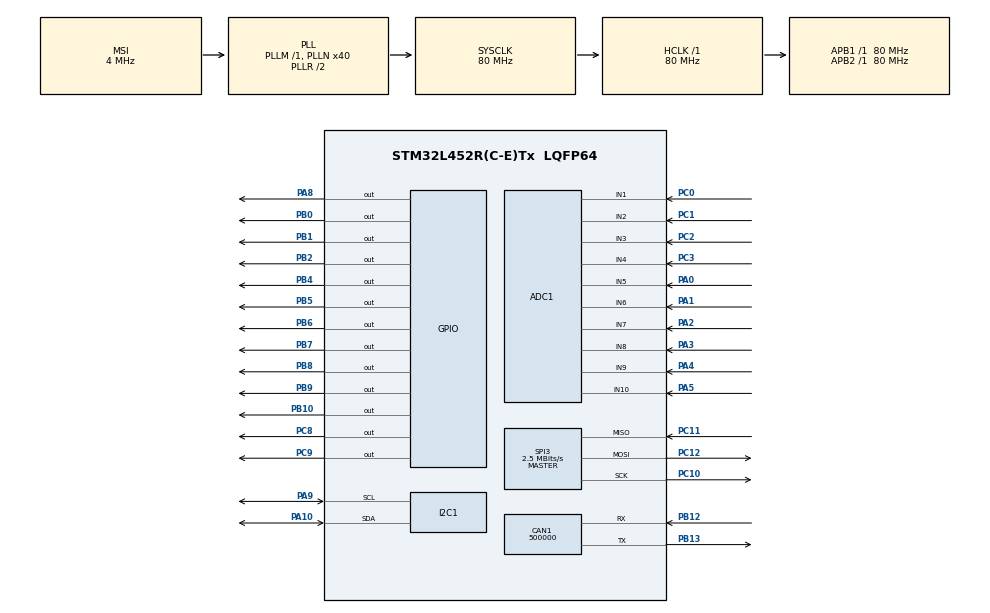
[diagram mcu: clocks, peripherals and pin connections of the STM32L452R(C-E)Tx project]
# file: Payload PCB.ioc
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ADC1.Channel-0\#ChannelRegularConversion=ADC_CHANNEL_1
ADC1.NbrOfConversion=1
ADC1.NbrOfConversionFlag=1
ADC1.OffsetNumber-0\#ChannelRegularConversion=ADC_OFFSET_NONE
ADC1.Rank-0\#ChannelRegularConversion=1
ADC1.SamplingTime-0\#ChannelRegularConversion=ADC_SAMPLETIME_2CYCLES_5
ADC1.master=1
CAN1.BS1=CAN_BS1_5TQ
CAN1.BS2=CAN_BS2_4TQ
CAN1.CalculateBaudRate=500000
CAN1.CalculateTimeBit=2000
CAN1.CalculateTimeQuantum=200.0
I2C1.Timing=0x10909CEC
Mcu.Family=STM32L4
Mcu.Name=STM32L452R(C-E)Tx
Mcu.Package=LQFP64
NVIC.CAN1_RX0_IRQn=true\:1\:0\:true\:false\:true\:true\:true\:true
NVIC.PriorityGroup=NVIC_PRIORITYGROUP_4
NVIC.TIM2_IRQn=true\:1\:0\:true\:false\:true\:true\:true\:true
PA0.Signal=ADCx_IN5
PA1.Signal=ADCx_IN6
PA10.Mode=I2C
PA10.Signal=I2C1_SDA
PA13\ (JTMS/SWDIO).Signal=SYS_JTMS-SWDIO
PA14\ (JTCK/SWCLK).Signal=SYS_JTCK-SWCLK
PA2.Signal=ADCx_IN7
PA3.Signal=ADCx_IN8
PA4.Signal=ADCx_IN9
PA5.Signal=ADCx_IN10
PA8.PinState=GPIO_PIN_SET
PA8.Signal=GPIO_Output
PA9.Mode=I2C
PA9.Signal=I2C1_SCL
PB0.Signal=GPIO_Output
PB1.Signal=GPIO_Output
PB10.Signal=GPIO_Output
PB12.Mode=CAN_Activate
PB12.Signal=CAN1_RX
PB13.Mode=CAN_Activate
PB13.Signal=CAN1_TX
PB2.Signal=GPIO_Output
PB3\ (JTDO/TRACESWO).Signal=SYS_JTDO-SWO
PB4\ (NJTRST).Signal=GPIO_Output
PB5.Signal=GPIO_Output
PB6.Signal=GPIO_Output
PB7.Signal=GPIO_Output
PB8.Signal=GPIO_Output
PB9.Signal=GPIO_Output
PC0.Signal=ADCx_IN1
PC1.Signal=ADCx_IN2
PC10.Mode=Full_Duplex_Master
PC10.Signal=SPI3_SCK
PC11.Mode=Full_Duplex_Master
PC11.Signal=SPI3_MISO
PC12.Mode=Full_Duplex_Master
PC12.Signal=SPI3_MOSI
PC2.Signal=ADCx_IN3
PC3.Signal=ADCx_IN4
PC8.PinState=GPIO_PIN_SET
PC8.Signal=GPIO_Output
PC9.Signal=GPIO_Output
ProjectManager.HeapSize=0x200
ProjectManager.StackSize=0x400
ProjectManager.TargetToolchain=STM32CubeIDE
RCC.ADCFreq_Value=32000000
RCC.AHBFreq_Value=80000000
RCC.APB1Freq_Value=80000000
RCC.APB1TimFreq_Value=80000000
RCC.APB2Freq_Value=80000000
RCC.APB2TimFreq_Value=80000000
RCC.CortexFreq_Value=80000000
RCC.HCLKFreq_Value=80000000
RCC.HSE_VALUE=8000000
RCC.HSI48_VALUE=48000000
RCC.HSI_VALUE=16000000
RCC.LSE_VALUE=32768
RCC.MSI_VALUE=4000000
RCC.PLLN=40
RCC.PLLSAI1N=16
RCC.SYSCLKFreq_VALUE=80000000
RCC.SYSCLKSource=RCC_SYSCLKSOURCE_PLLCLK
RCC.USBFreq_Value=32000000
RCC.VCOOutputFreq_Value=160000000
SH.ADCx_IN1.0=ADC1_IN1,IN1-Single-Ended
SH.ADCx_IN10.0=ADC1_IN10,IN10-Single-Ended
SH.ADCx_IN2.0=ADC1_IN2,IN2-Single-Ended
SH.ADCx_IN3.0=ADC1_IN3,IN3-Single-Ended
SH.ADCx_IN4.0=ADC1_IN4,IN4-Single-Ended
SH.ADCx_IN5.0=ADC1_IN5,IN5-Single-Ended
SH.ADCx_IN6.0=ADC1_IN6,IN6-Single-Ended
SH.ADCx_IN7.0=ADC1_IN7,IN7-Single-Ended
SH.ADCx_IN8.0=ADC1_IN8,IN8-Single-Ended
SH.ADCx_IN9.0=ADC1_IN9,IN9-Single-Ended
SPI3.BaudRatePrescaler=SPI_BAUDRATEPRESCALER_32
SPI3.CalculateBaudRate=2.5 MBits/s
SPI3.DataSize=SPI_DATASIZE_8BIT
SPI3.Direction=SPI_DIRECTION_2LINES
SPI3.Mode=SPI_MODE_MASTER
SPI3.VirtualType=VM_MASTER
TIM2.Period=80000000
VP_TIM2_VS_ClockSourceINT.Mode=Internal
board=custom

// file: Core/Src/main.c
/* USER CODE BEGIN Header */
/**
  ******************************************************************************
  * @file           : main.c
  * @brief          : Main program body
  ******************************************************************************
  * @attention
  *
  * Copyright (c) 2022 STMicroelectronics.
  * All rights reserved.
  *
  * This software is licensed under terms that can be found in the LICENSE file
  * in the root directory of this software component.
  * If no LICENSE file comes with this software, it is provided AS-IS.
  *
  ******************************************************************************
  */
/* USER CODE END Header */
#include "main.h"
#include "adc.h"
#include "can.h"
#include "i2c.h"
#include "spi.h"
#include "tim.h"
#include "gpio.h"

/* USER CODE BEGIN Includes */
#include "lowlevel/max7300.h" 		// I/O Expander (I2C)
#include "lowlevel/tlv2553.h" 		// ADC (SPI)
#include "lowlevel/max6822.h"		// Watchdog/supervisor
#include "thermostats.h" 			// Well temperature readings
#include "heaters.h" 				// Well heater system
#include "leds.h"					// LEDs
#include "temperatures.h"			// Well temperature monitoring system
#include "lightlevels.h"			// Well light level monitoring system

#include "can_message_queue.h"

/* USER CODE END Includes */

/* USER CODE BEGIN PTD */
#define HIGH	1 // for GPIO
#define LOW		0
/* USER CODE END PTD */

/* USER CODE BEGIN PV */
uint8_t temp_sequence = 0;
uint8_t light_sequence = 0;
/* USER CODE END PV */

void SystemClock_Config(void);

/* USER CODE BEGIN 0 */
uint8_t secondsCounter = 0;

// function to get temperature data, package it and send it through CAN
void TEMP_transmitTemperatureData(uint8_t wellID) {
	uint16_t temperatureReading = TEMP_getWellTemperatureReading(wellID);

	CANMessage_t message;

	message.SenderID = 0x3;
	message.DestinationID = 0x1;
	message.command = 0x34;
	message.priority = 0b0000011;

	message.data[0] = temp_sequence++;
	message.data[1] = wellID;
	message.data[2] = (temperatureReading & 0xFF00) >> 8;
	message.data[3] = temperatureReading & 0xFF;
	message.data[4] = 0x00;
    message.data[5] = 0x00;
    message.data[6] = 0x00;

	CAN_Transmit_Message(message);

}

// function to get light level data, package it and send it through CAN
void LIGHT_transmitLightLevelData(uint8_t wellID) {
	uint16_t lightLevelReading = LIGHT_getWellLightReading(wellID);

	CANMessage_t message;

	message.SenderID = 0x3;
	message.DestinationID = 0x1;
	message.command = 0x33;
	message.priority = 0b0011111;

	message.data[0] = light_sequence++;
	message.data[1] = wellID;
	message.data[2] = (lightLevelReading & 0xFF00) >> 8;
	message.data[3] = lightLevelReading & 0xFF;
	message.data[4] = 0x00;
	message.data[5] = 0x00;
	message.data[6] = 0x00;

	CAN_Transmit_Message(message);
}

CANQueue_t can_queue; // CAN Queue object

/* USER CODE END 0 */

int main(void)
{

  /* MCU Configuration--------------------------------------------------------*/

  /* Reset of all peripherals, Initializes the Flash interface and the Systick. */
  HAL_Init();

  /* Configure the system clock */
  SystemClock_Config();

  /* Initialize all configured peripherals */
  MX_GPIO_Init();
  MX_ADC1_Init();
  MX_CAN1_Init();
  MX_I2C1_Init();
  MX_SPI3_Init();
  MX_TIM2_Init();
  /* USER CODE BEGIN 2 */

  HAL_TIM_Base_Start_IT(&htim2);

  MAX7300_Init();

  CAN_Queue_Init(&can_queue);

  HAL_StatusTypeDef can_operation_status;
  can_operation_status = CAN_Init(); 		// defined in the custom can_driver file
  // if (can_operation_status != HAL_OK) goto error;

  /* USER CODE END 2 */

  /* Infinite loop */
  while (1)
  {

    /* USER CODE BEGIN 3 */

	  MAX6822_Toggle_WDI();

	  if (!CAN_Queue_IsEmpty(&can_queue)) {
		  CANMessage_t can_message;
		  CAN_Queue_Dequeue(&can_queue, &can_message);

		  uint8_t led_id, therm_id, heater_id;
		  uint8_t response_data[6] = {0,0,0,0,0,0};

		  switch (can_message.command) {
		      case 0xA0: // RESET command

		    	  CAN_Send_Default_ACK(can_message);

		          MAX6822_Manual_Reset();

		          break;

		      case 0xA1: // LED ON command

		    	  led_id = can_message.data[0];

		    	  LED_enableLED(led_id);

		    	  response_data[0] = led_id;

		    	  CAN_Send_Default_ACK_With_Data(can_message, response_data);

				  break;

		      case 0xA2: // LED OFF command

		    	  led_id = can_message.data[0];

		    	  LED_disableLED(led_id);

		    	  response_data[0] = led_id;

		    	  CAN_Send_Default_ACK_With_Data(can_message, response_data);

		          break;

		      case 0xA3: // THERMOREGULATION ON command

		    	  therm_id = can_message.data[0];

		    	  THERM_enableThermostat(therm_id);

		    	  response_data[0] = therm_id;

		    	  CAN_Send_Default_ACK_With_Data(can_message, response_data);

		          break;

		      case 0xA4: // THERMOREGULATION OFF COMMAND

		    	  therm_id = can_message.data[0];

		    	  THERM_disableThermostat(therm_id);

		    	  response_data[0] = therm_id;

		    	  CAN_Send_Default_ACK_With_Data(can_message, response_data);

		          break;

		      case 0xA5: // HEAT ON command

		    	  heater_id = can_message.data[0];

		    	  HEAT_enableHeater(heater_id);

		    	  response_data[0] = heater_id;

                  CAN_Send_Default_ACK_With_Data(can_message, response_data);

		          break;

		      case 0xA6: // HEATER OFF command

		    	  heater_id = can_message.data[0];

		    	  HEAT_disableHeater(heater_id);

		    	  response_data[0] = heater_id;

		    	  CAN_Send_Default_ACK_With_Data(can_message, response_data);

		          break;

		      default:
		          break;
		  }

	  }

  }
  /* USER CODE END 3 */
}

void SystemClock_Config(void)
{
  RCC_OscInitTypeDef RCC_OscInitStruct = {0};
  RCC_ClkInitTypeDef RCC_ClkInitStruct = {0};

  /** Configure the main internal regulator output voltage
  */
  if (HAL_PWREx_ControlVoltageScaling(PWR_REGULATOR_VOLTAGE_SCALE1) != HAL_OK)
  {
    Error_Handler();
  }

  /** Initializes the RCC Oscillators according to the specified parameters
  * in the RCC_OscInitTypeDef structure.
  */
  RCC_OscInitStruct.OscillatorType = RCC_OSCILLATORTYPE_MSI;
  RCC_OscInitStruct.MSIState = RCC_MSI_ON;
  RCC_OscInitStruct.MSICalibrationValue = 0;
  RCC_OscInitStruct.MSIClockRange = RCC_MSIRANGE_6;
  RCC_OscInitStruct.PLL.PLLState = RCC_PLL_ON;
  RCC_OscInitStruct.PLL.PLLSource = RCC_PLLSOURCE_MSI;
  RCC_OscInitStruct.PLL.PLLM = 1;
  RCC_OscInitStruct.PLL.PLLN = 40;
  RCC_OscInitStruct.PLL.PLLP = RCC_PLLP_DIV7;
  RCC_OscInitStruct.PLL.PLLQ = RCC_PLLQ_DIV2;
  RCC_OscInitStruct.PLL.PLLR = RCC_PLLR_DIV2;
  if (HAL_RCC_OscConfig(&RCC_OscInitStruct) != HAL_OK)
  {
    Error_Handler();
  }

  /** Initializes the CPU, AHB and APB buses clocks
  */
  RCC_ClkInitStruct.ClockType = RCC_CLOCKTYPE_HCLK|RCC_CLOCKTYPE_SYSCLK
                              |RCC_CLOCKTYPE_PCLK1|RCC_CLOCKTYPE_PCLK2;
  RCC_ClkInitStruct.SYSCLKSource = RCC_SYSCLKSOURCE_PLLCLK;
  RCC_ClkInitStruct.AHBCLKDivider = RCC_SYSCLK_DIV1;
  RCC_ClkInitStruct.APB1CLKDivider = RCC_HCLK_DIV1;
  RCC_ClkInitStruct.APB2CLKDivider = RCC_HCLK_DIV1;

  if (HAL_RCC_ClockConfig(&RCC_ClkInitStruct, FLASH_LATENCY_4) != HAL_OK)
  {
    Error_Handler();
  }
}

/* USER CODE BEGIN 4 */
/**
  * @brief  Period elapsed callback in non blocking mode
  * @note   This function is called  when TIM16 interrupt took place, inside
  * HAL_TIM_IRQHandler(). It makes a direct call to HAL_IncTick() to increment
  * a global variable "uwTick" used as application time base.
  * @param  htim : TIM handle
  * @retval None
  */
void HAL_TIM_PeriodElapsedCallback(TIM_HandleTypeDef *htim)
{
  // this SHOULD happen once per second. System clock = 80MHz, timer interval is 80000000.
  if(htim->Instance == TIM2) {
    secondsCounter++;
    if (secondsCounter >= 60) {
        secondsCounter = 0;
        for (int i = 1; i < 11; i++) {
            TEMP_transmitTemperatureData(i);
        }
        for (int i = 1; i < 11; i++) {
            LIGHT_transmitLightLevelData(i);
        }
    }
  }
}

// Interrupt handler for new CAN message
void HAL_CAN_RxFifo0MsgPendingCallback(CAN_HandleTypeDef *hcan1) {
    CAN_Message_Received(); // no error handling right now
}
/* USER CODE END 4 */

void Error_Handler(void)
{
  __disable_irq();
  while (1)
  {
  }
}
